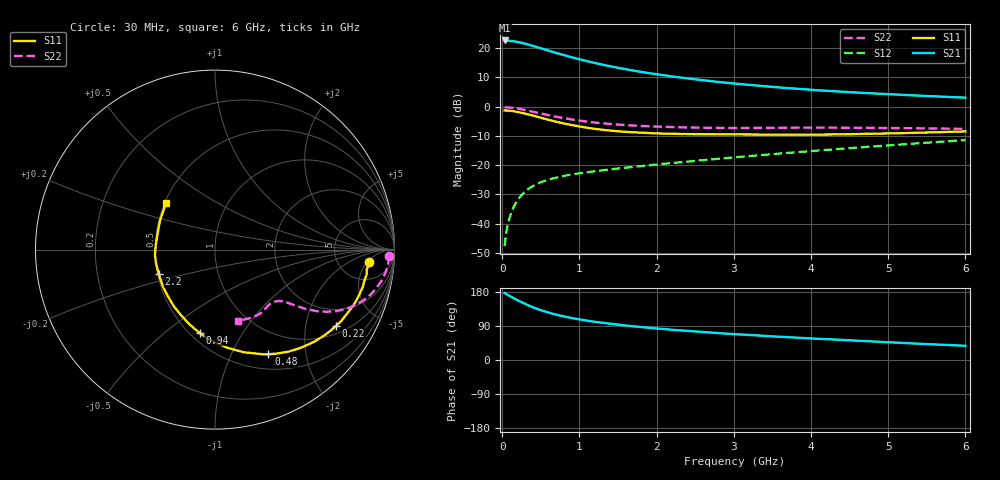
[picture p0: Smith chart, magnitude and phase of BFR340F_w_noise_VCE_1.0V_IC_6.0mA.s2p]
! Infineon Technologies  Discrete & RF Semiconductors
! BFR340F
! VCE =  1.0 V,  IC =  6.0 mA
! Common Emitter S-Parameters:  Nov 2015
# GHz  S  MA  R  50
!  f  S11  S21  S12  S22
! GHz  MAG  ANG  MAG  ANG  MAG  ANG  MAG  ANG
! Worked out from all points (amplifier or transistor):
!   206 points, 30 MHz to 6 GHz, reference 50 ohm
!   highest |S21| = 22.6 dB at 30 MHz (marker M1)
!   |S21| within 3 dB of that: start of sweep to 539.5 MHz
!   unconditionally stable (mu >= 1): 1.972 GHz to end of sweep
!   at 200 MHz: K = 0.17, MSG = 27.0 dB, |S12| = -31.9 dB
!   at 1.56 GHz: K = 0.90, MSG = 17.0 dB, |S12| = -21.0 dB
!   at 6 GHz: K = 1.00, MAG = 7.0 dB, |S12| = -11.5 dB
!   lowest NFmin = 1.17 dB at 450 MHz
!   S11 on the Smith chart (normalised r, x): 30 MHz: 10, -5; 220 MHz: 1.28, -2.96; 480 MHz: 0.69, -1.40; 940 MHz: 0.56, -0.66; 2.2 GHz: 0.51, -0.16; 6 GHz: 0.51, +0.31
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0.03  0.8586 -4.6  13.49 176.9  0.0041 87.5  0.9719 -2.1
0.05  0.8526 -7.5  13.4 173.8  0.0069 86.9  0.9699 -3.6
0.07  0.8523 -10.8  13.46 171.6  0.0094 84.3  0.9676 -5.0
0.12  0.8401 -18.2  13.23 166.2  0.0158 80.6  0.9547 -8.6
0.15  0.8298 -22.5  13.04 162.6  0.0196 78.7  0.944 -10.6
0.22  0.7966 -32.2  12.54 155.3  0.0275 73.6  0.9122 -14.9
0.28  0.7654 -40.1  12.01 149.3  0.0337 70.1  0.8811 -18.2
0.34  0.7324 -47.5  11.45 143.8  0.0392 67.0  0.8475 -21.0
0.48  0.6542 -62.9  10.09 132.8  0.0496 61.3  0.7702 -26.1
0.6  0.5934 -74.5  9.033 125.0  0.0564 57.9  0.7104 -29.2
0.7  0.55 -83.1  8.24 119.5  0.0612 56.2  0.6677 -31.0
0.8  0.513 -90.8  7.546 114.8  0.0652 55.0  0.6314 -32.2
0.94  0.4709 -100.5  6.733 109.3  0.0702 54.0  0.5897 -33.6
1.04  0.446 -106.9  6.232 105.7  0.0734 53.7  0.5652 -34.2
1.2  0.4151 -116.2  5.549 100.7  0.0784 53.6  0.5325 -35.2
1.42  0.3864 -127.4  4.816 95.0  0.0849 54.2  0.5004 -36.2
2.02  0.347 -150.5  3.531 82.9  0.1027 57.0  0.4532 -39.2
2.2  0.3421 -156.2  3.267 79.8  0.1083 57.8  0.4454 -40.3
3.1  0.3341 -177.0  2.409 67.2  0.1388 61.5  0.4298 -46.8
4.1  0.3312 165.6  1.895 56.0  0.1774 63.6  0.4366 -53.7
5.1  0.3491 149.8  1.603 45.9  0.2214 64.0  0.4282 -62.7
6  0.3756 136.3  1.42 37.6  0.267 63.1  0.4151 -72.2
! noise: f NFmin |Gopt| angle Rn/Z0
0.45  1.17  0.43  2  0.31
0.9  1.18  0.43  11  0.34
1.9  1.43  0.3  17  0.31
2.4  1.55  0.26  27  0.31
